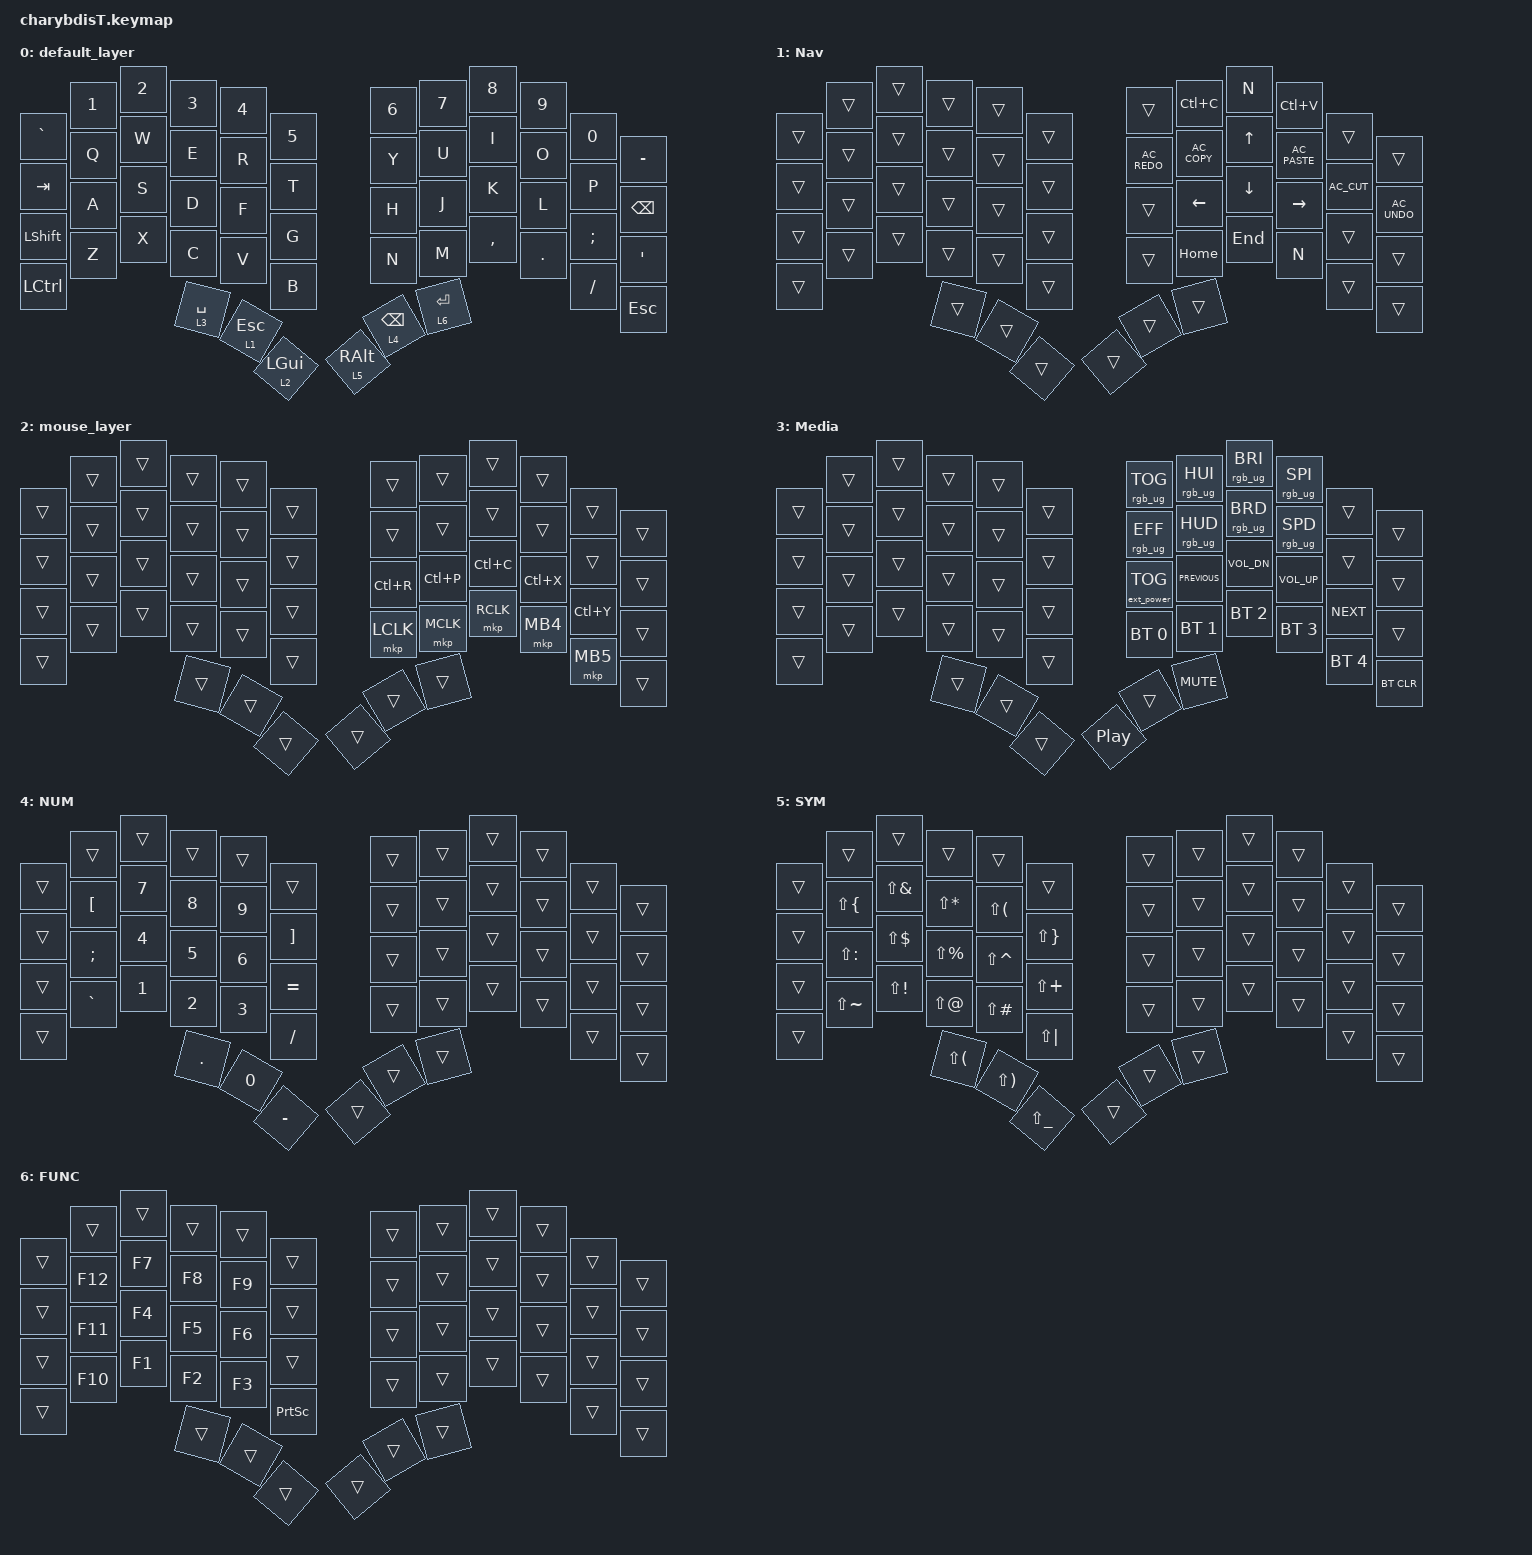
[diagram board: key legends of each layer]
/*
 * Copyright (c) 2020 The ZMK Contributors
 *
 * SPDX-License-Identifier: MIT
 */

 #include <dt-bindings/led/led.h>
 #include <dt-bindings/zmk/mouse.h>
 #include <behaviors/mouse_keys.dtsi>
 #include <input/processors.dtsi>
 #include <behaviors.dtsi>
 #include <dt-bindings/zmk/bt.h>
 #include <dt-bindings/zmk/ext_power.h>
 #include <dt-bindings/zmk/keys.h>
 #include <dt-bindings/zmk/pointing.h>
 #include <dt-bindings/zmk/rgb.h>
 #include <dt-bindings/zmk/behaviors.h>
 
 / {
     /* adjust cooldown waiting period for mouse key layer after activated */
     behaviors {
        my_mt: my_mod_tap {
            compatible = "zmk,behavior-hold-tap";
            bindings = <&mo>, <&kp>;
            flavor = "tap-preferred";
            tapping-term-ms = <200>;
            display-name = "My-Mod-Tap";
            #binding-cells = <2>;
        };
    };
     ib_toggle_layer: ib_toggle_layer {
         compatible = "zmk,input-behavior-tog-layer";
         #binding-cells = <1>;
         time-to-live-ms = <2000>;
     };
 
     keymap {
         compatible = "zmk,keymap";
 
         default_layer {
             // ---------------------------------------------------------------------------------------------------------------------------------
             // | GRAVE  |   1    |   2    |   3    |   4    |   5    |                                      |   6    |   7    |   8    |   9    |   0    |  DEL   |
             // |  TAB   |   Q    |   W    |   E    |   R    |   T    |                                      |   Y    |   U    |   I    |   O    |   P    |  BSPC  |
             // |  CTRL  |   A    |   S    |   D    |   F    |   G    |                                      |   H    |   J    |   K    |   L    |   ;    |   '    |
             // |  SHIFT |   Z    |   X    |   C    |   V    |   B    |  LBKT  |                    |  RBKT  |   N    |   M    |   ,    |   .    |   /    |  RET   |
             // | ADJUST |  ESC   |  ALT   |  LGUI  | EISUU  | LOWER  | SPACE  |                    |  SPACE | RAISE  |  KANA  |  LEFT  |  DOWN  |  UP    |  RIGHT |
 
             bindings = <
 &kp GRAVE       &kp N1            &kp N2                 &kp N3    &kp N4  &kp N5   &kp N6  &kp N7  &kp N8     &kp N9   &kp N0    &kp MINUS
 &kp TAB         &kp Q             &kp W                  &kp E     &kp R   &kp T    &kp Y   &kp U   &kp I      &kp O    &kp P     &kp BSPC
 &kp LEFT_SHIFT  &kp A             &kp S                  &kp D     &kp F   &kp G    &kp H   &kp J   &kp K      &kp L    &kp SEMI  &kp SQT
 &kp LCTRL       &kp Z             &kp X                  &kp C     &kp V   &kp B    &kp N   &kp M   &kp COMMA  &kp DOT  &kp FSLH  &kp ESC
                         &my_mt 3 SPACE       &my_mt 1 ESC              &my_mt 2 LEFT_GUI             &my_mt 5 RALT  &my_mt 4 BSPC    &my_mt 6 RET
             >;
         };
 
         Nav {
             bindings = <
 &trans  &trans  &trans  &trans  &trans  &trans  &trans         &kp LC(C)      &kp N     &kp LC(V)       &trans        &trans
 &trans  &trans  &trans  &trans  &trans  &trans  &kp C_AC_REDO  &kp C_AC_COPY  &kp UP    &kp C_AC_PASTE  &kp C_AC_CUT  &kp C_AC_UNDO
 &trans  &trans  &trans  &trans  &trans  &trans  &trans         &kp LEFT       &kp DOWN  &kp RIGHT       &trans        &trans
 &trans  &trans  &trans  &trans  &trans  &trans  &trans         &kp HOME       &kp END   &kp N           &trans        &trans
         &trans  &trans  &trans  &trans         &trans                                   &trans
             >;
         };
 
         mouse_layer {
             // ---------------------------------------------------------------------------------------------------------------------------------
             // | GRAVE  |   1    |   2    |   3    |   4    |   5    |                                      |   6    |   7    |   8    |   9    |   0    |  DEL   |
             // |  TAB   |   Q    |   W    |   E    |   R    |   T    |                                      |   Y    |   U    |   I    |   O    |   P    |  BSPC  |
             // |  CTRL  |   A    |   S    |   D    |   F    |   G    |                                      |   H    |   J    |   K    |   L    |   ;    |   '    |
             // |  SHIFT |   Z    |   X    |   C    |   V    |   B    |  LBKT  |                    |  RBKT  |   N    |   M    |   ,    |   .    |   /    |  RET   |
             // | ADJUST |  ESC   |  ALT   |  LGUI  | EISUU  | LOWER  | SPACE  |                    |  SPACE | RAISE  |  KANA  |  LEFT  |  DOWN  |  UP    |  RIGHT |
 
             bindings = <
 &trans  &trans  &trans  &trans  &trans  &trans  &trans     &trans     &trans     &trans     &trans     &trans
 &trans  &trans  &trans  &trans  &trans  &trans  &trans     &trans     &trans     &trans     &trans     &trans
 &trans  &trans  &trans  &trans  &trans  &trans  &kp LC(R)  &kp LC(P)  &kp LC(C)  &kp LC(X)  &kp LC(Y)  &trans
 &trans  &trans  &trans  &trans  &trans  &trans  &mkp LCLK  &mkp MCLK  &mkp RCLK  &mkp MB4   &mkp MB5   &trans
 &trans  &trans  &trans  &trans  &trans  &trans
             >;
         };
 
         Media {
             bindings = <
 &trans  &trans  &trans  &trans            &trans  &trans      &rgb_ug RGB_TOG    &rgb_ug RGB_HUI  &rgb_ug RGB_BRI  &rgb_ug RGB_SPI  &trans        &trans
 &trans  &trans  &trans  &trans            &trans  &trans      &rgb_ug RGB_EFF    &rgb_ug RGB_HUD  &rgb_ug RGB_BRD  &rgb_ug RGB_SPD  &trans        &trans
 &trans  &trans  &trans  &trans            &trans  &trans      &ext_power EP_TOG  &kp C_PREVIOUS   &kp C_VOL_DN     &kp C_VOL_UP     &kp C_NEXT    &trans
 &trans  &trans  &trans  &trans            &trans  &trans      &bt BT_SEL 0       &bt BT_SEL 1     &bt BT_SEL 2     &bt BT_SEL 3     &bt BT_SEL 4  &bt BT_CLR
 &trans  &trans  &trans  &kp C_PLAY_PAUSE  &trans  &kp C_MUTE
             >;
         };
 
         NUM {
             bindings = <
 &trans   &trans     &trans     &trans  &trans  &trans     &trans  &trans  &trans  &trans  &trans  &trans
 &trans   &kp LBKT   &kp N7     &kp N8  &kp N9  &kp RBKT   &trans  &trans  &trans  &trans  &trans  &trans
 &trans   &kp SEMI   &kp N4     &kp N5  &kp N6  &kp EQUAL  &trans  &trans  &trans  &trans  &trans  &trans
 &trans   &kp GRAVE  &kp N1     &kp N2  &kp N3  &kp FSLH   &trans  &trans  &trans  &trans  &trans  &trans
 &kp DOT  &kp N0     &kp MINUS  &trans  &trans  &trans
             >;
         };
 
         SYM {
             bindings = <
 &trans        &trans         &trans         &trans         &trans         &trans        &trans  &trans  &trans  &trans  &trans  &trans
 &trans        &kp LS(LBRC)   &kp LS(AMPS)   &kp LS(STAR)   &kp LS(LPAR)   &kp LS(RBRC)  &trans  &trans  &trans  &trans  &trans  &trans
 &trans        &kp LS(COLON)  &kp LS(DLLR)   &kp LS(PRCNT)  &kp LS(CARET)  &kp LS(PLUS)  &trans  &trans  &trans  &trans  &trans  &trans
 &trans        &kp LS(TILDE)  &kp LS(EXCL)   &kp LS(AT)     &kp LS(POUND)  &kp LS(PIPE)  &trans  &trans  &trans  &trans  &trans  &trans
 &kp LS(LPAR)  &kp LS(RPAR)   &kp LS(UNDER)  &trans         &trans         &trans
             >;
         };
 
         FUNC {
             bindings = <
 &trans  &trans   &trans  &trans  &trans  &trans           &trans  &trans  &trans  &trans  &trans  &trans
 &trans  &kp F12  &kp F7  &kp F8  &kp F9  &trans           &trans  &trans  &trans  &trans  &trans  &trans
 &trans  &kp F11  &kp F4  &kp F5  &kp F6  &trans           &trans  &trans  &trans  &trans  &trans  &trans
 &trans  &kp F10  &kp F1  &kp F2  &kp F3  &kp PRINTSCREEN  &trans  &trans  &trans  &trans  &trans  &trans
 &trans  &trans   &trans  &trans  &trans  &trans
             >;
         };
     };
 };
